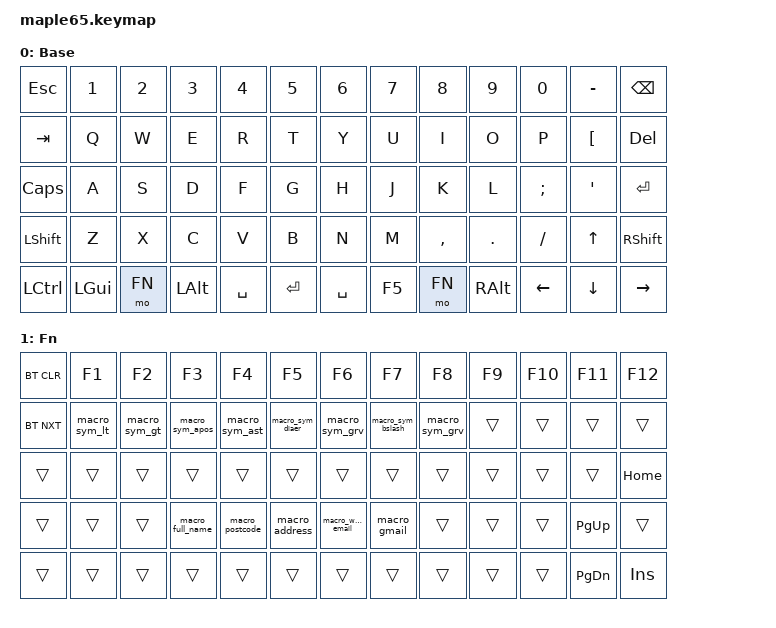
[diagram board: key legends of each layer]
#include <behaviors.dtsi>
#include <dt-bindings/zmk/keys.h>
#include <dt-bindings/zmk/bt.h>

#define BASE 0
#define FN   1

/*
 * Norwegian host-layout aliases.
 * These are physical key positions interpreted by the OS keyboard layout.
 */
#define NO_AA LBKT
#define NO_OE SEMI
#define NO_AE APOS

#define NO_PLUS MINUS
#define NO_MINS SLASH
#define NO_AT   RA(N2)

#define NO_LT   NON_US_BACKSLASH
#define NO_GT   LS(NON_US_BACKSLASH)
#define NO_APOS NON_US_HASH
#define NO_ASTR LS(NON_US_HASH)
#define NO_DIAE RBKT
#define NO_GRV  LS(EQUAL)
#define NO_BSLS RA(MINUS)

/ {
    macros {
        macro_gmail: macro_gmail {
            compatible = "zmk,behavior-macro";
            #binding-cells = <0>;
            wait-ms = <40>;
            tap-ms = <40>;
            bindings = <
                &kp I &kp V &kp A &kp N &kp DOT &kp A &kp DOT
                &kp R &kp E &kp I &kp G &kp S &kp T &kp A &kp D
                &kp NO_AT
                &kp G &kp M &kp A &kp I &kp L &kp DOT &kp C &kp O &kp M
            >;
        };

        macro_work_email: macro_work_email {
            compatible = "zmk,behavior-macro";
            #binding-cells = <0>;
            wait-ms = <40>;
            tap-ms = <40>;
            bindings = <
                &kp I &kp V &kp A &kp N
                &kp NO_AT
                &kp S &kp A &kp G &kp E &kp N &kp E &kp D &kp A &kp T &kp A
                &kp DOT &kp N &kp O
            >;
        };

        macro_address: macro_address {
            compatible = "zmk,behavior-macro";
            #binding-cells = <0>;
            wait-ms = <40>;
            tap-ms = <40>;
            bindings = <
                &kp LS(B) &kp E &kp N &kp T &kp S &kp E
                &kp B &kp R &kp U &kp G &kp A &kp T &kp A
                &kp SPACE &kp N1 &kp N7 &kp D
            >;
        };

        macro_postcode: macro_postcode {
            compatible = "zmk,behavior-macro";
            #binding-cells = <0>;
            wait-ms = <40>;
            tap-ms = <40>;
            bindings = <
                &kp N0 &kp N4 &kp N7 &kp N6
                &kp SPACE
                &kp LS(O) &kp S &kp L &kp O
            >;
        };

        macro_full_name: macro_full_name {
            compatible = "zmk,behavior-macro";
            #binding-cells = <0>;
            wait-ms = <40>;
            tap-ms = <40>;
            bindings = <
                &kp LS(I) &kp V &kp A &kp N
                &kp SPACE
                &kp LS(A) &kp L &kp E &kp X &kp A &kp N &kp D &kp E &kp R
                &kp SPACE
                &kp LS(R) &kp E &kp I &kp G &kp S &kp T &kp A &kp D
            >;
        };

        macro_sym_lt: macro_sym_lt {
            compatible = "zmk,behavior-macro";
            #binding-cells = <0>;
            wait-ms = <40>;
            tap-ms = <40>;
            bindings
                = <&macro_press &kp LALT>
                , <&macro_tap &kp KP_N0 &kp KP_N6 &kp KP_N0>
                , <&macro_release &kp LALT>
                ;
        };

        macro_sym_gt: macro_sym_gt {
            compatible = "zmk,behavior-macro";
            #binding-cells = <0>;
            wait-ms = <40>;
            tap-ms = <40>;
            bindings
                = <&macro_press &kp LALT>
                , <&macro_tap &kp KP_N0 &kp KP_N6 &kp KP_N2>
                , <&macro_release &kp LALT>
                ;
        };

        macro_sym_apos: macro_sym_apos {
            compatible = "zmk,behavior-macro";
            #binding-cells = <0>;
            wait-ms = <40>;
            tap-ms = <40>;
            bindings
                = <&macro_press &kp LALT>
                , <&macro_tap &kp KP_N0 &kp KP_N3 &kp KP_N9>
                , <&macro_release &kp LALT>
                ;
        };

        macro_sym_ast: macro_sym_ast {
            compatible = "zmk,behavior-macro";
            #binding-cells = <0>;
            wait-ms = <40>;
            tap-ms = <40>;
            bindings
                = <&macro_press &kp LALT>
                , <&macro_tap &kp KP_N0 &kp KP_N4 &kp KP_N2>
                , <&macro_release &kp LALT>
                ;
        };

        macro_sym_diaer: macro_sym_diaer {
            compatible = "zmk,behavior-macro";
            #binding-cells = <0>;
            wait-ms = <40>;
            tap-ms = <40>;
            bindings
                = <&macro_press &kp LALT>
                , <&macro_tap &kp KP_N0 &kp KP_N1 &kp KP_N6 &kp KP_N8>
                , <&macro_release &kp LALT>
                ;
        };

        macro_sym_grv: macro_sym_grv {
            compatible = "zmk,behavior-macro";
            #binding-cells = <0>;
            wait-ms = <40>;
            tap-ms = <40>;
            bindings
                = <&macro_press &kp LALT>
                , <&macro_tap &kp KP_N0 &kp KP_N9 &kp KP_N6>
                , <&macro_release &kp LALT>
                ;
        };

        macro_sym_bslash: macro_sym_bslash {
            compatible = "zmk,behavior-macro";
            #binding-cells = <0>;
            wait-ms = <40>;
            tap-ms = <40>;
            bindings
                = <&macro_press &kp LALT>
                , <&macro_tap &kp KP_N0 &kp KP_N9 &kp KP_N2>
                , <&macro_release &kp LALT>
                ;
        };
    };

    keymap {
        compatible = "zmk,keymap";

        base_layer {
            display-name = "Base";
            bindings = <
//          Esc        1          2        3          4          5        6           7        8        9        0        +        Back
            &kp ESC    &kp N1     &kp N2   &kp N3     &kp N4     &kp N5    &kp N6     &kp N7   &kp N8   &kp N9   &kp N0   &kp NO_PLUS &kp BACKSPACE
//          Tab        Q          W        E          R          T         Y          U        I        O        P        AA       Del
            &kp TAB    &kp Q      &kp W    &kp E      &kp R      &kp T     &kp Y      &kp U    &kp I    &kp O    &kp P    &kp NO_AA &kp DELETE
//          Caps       A          S        D          F          G         H          J        K        L        OE       AE       Enter
            &kp CAPSLOCK &kp A    &kp S    &kp D      &kp F      &kp G     &kp H      &kp J    &kp K    &kp L    &kp NO_OE &kp NO_AE &kp ENTER
//          Shift      Z          X        C          V          B         N          M        ,        .        -        Up       Shift
            &kp LSHFT  &kp Z      &kp X    &kp C      &kp V      &kp B     &kp N      &kp M    &kp COMMA &kp DOT  &kp NO_MINS &kp UP &kp RSHFT
//          Ctrl       Win        Fn       Alt        Space      Enter     Space      F5       Fn       AltGr    Left     Down     Right
            &kp LCTRL  &kp LGUI   &mo FN   &kp LALT   &kp SPACE  &kp ENTER &kp SPACE  &kp F5   &mo FN   &kp RALT &kp LEFT &kp DOWN &kp RIGHT
            >;
        };

        fn_layer {
            display-name = "Fn";
            bindings = <
//          BT Clear   F1       F2       F3       F4       F5       F6       F7       F8       F9       F10      F11      F12
            &bt BT_CLR &kp F1   &kp F2   &kp F3   &kp F4   &kp F5   &kp F6   &kp F7   &kp F8   &kp F9   &kp F10  &kp F11  &kp F12
//          BT Next    <        >        '        *        diaer   `        \        `        O        P        AA       Del
            &bt BT_NXT &macro_sym_lt &macro_sym_gt &macro_sym_apos &macro_sym_ast &macro_sym_diaer &macro_sym_grv &macro_sym_bslash &macro_sym_grv &trans &trans &trans &trans
//          Caps       A        S        D        F        G        H        J        K        L        OE       AE       Home
            &trans     &trans   &trans   &trans   &trans   &trans   &trans   &trans   &trans   &trans   &trans   &trans   &kp HOME
//          Shift      Z        X        name     post     addr     work     gmail    ,        .        -        PgUp     Shift
            &trans     &trans   &trans   &macro_full_name &macro_postcode &macro_address &macro_work_email &macro_gmail &trans &trans &trans &kp PG_UP &trans
//          Ctrl       Win      Alt      Fn       Space    Enter    Trans    Space    Fn       AltGr    Left     PgDn     Insert
            &trans     &trans   &trans   &trans   &trans   &trans   &trans   &trans   &trans   &trans   &trans   &kp PG_DN &kp INSERT
            >;
        };
    };
};
